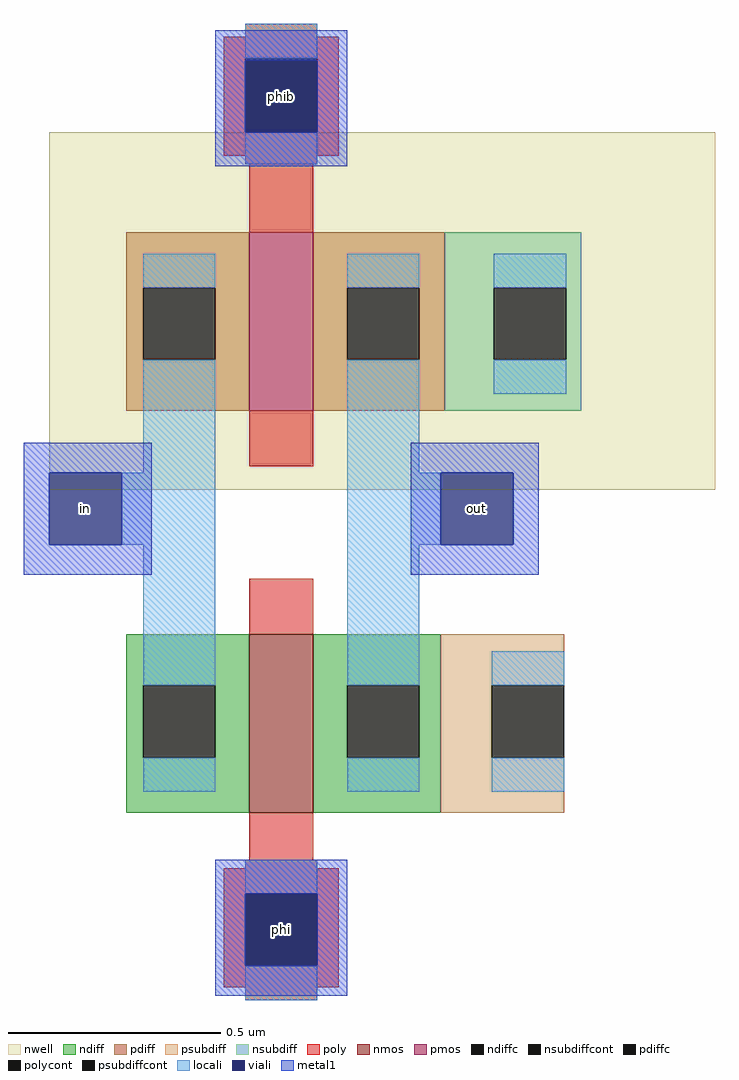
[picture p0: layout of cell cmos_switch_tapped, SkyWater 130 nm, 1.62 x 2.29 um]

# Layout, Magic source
magic
tech sky130A
magscale 1 2
<< nwell >>
rect -94 162 219 330
<< nmos >>
rect 0 10 30 94
<< pmos >>
rect 0 199 30 283
<< ndiff >>
rect -58 70 0 94
rect -58 36 -50 70
rect -16 36 0 70
rect -58 10 0 36
rect 30 70 90 94
rect 30 36 46 70
rect 80 36 90 70
rect 30 10 90 36
<< pdiff >>
rect -58 257 0 283
rect -58 223 -50 257
rect -16 223 0 257
rect -58 199 0 223
rect 30 257 92 283
rect 30 223 46 257
rect 80 223 92 257
rect 30 199 92 223
<< ndiffc >>
rect -50 36 -16 70
rect 46 36 80 70
<< pdiffc >>
rect -50 223 -16 257
rect 46 223 80 257
<< psubdiff >>
rect 90 70 148 94
rect 90 36 114 70
rect 90 10 148 36
<< nsubdiff >>
rect 92 257 156 283
rect 92 223 115 257
rect 149 223 156 257
rect 92 199 156 223
<< psubdiffcont >>
rect 114 36 148 70
<< nsubdiffcont >>
rect 115 223 149 257
<< poly >>
rect -2 375 32 381
rect -12 365 42 375
rect -12 331 -2 365
rect 32 331 42 365
rect -12 319 42 331
rect -2 315 32 319
rect 0 283 30 315
rect 0 173 30 199
rect 0 94 30 120
rect 0 -12 30 10
rect -2 -16 32 -12
rect -12 -28 42 -16
rect -12 -62 -2 -28
rect 32 -62 42 -28
rect -12 -72 42 -62
rect -2 -78 32 -72
<< polycont >>
rect -2 331 32 365
rect -2 -62 32 -28
<< locali >>
rect -2 365 32 381
rect -2 315 32 330
rect -50 257 -16 273
rect -50 170 -16 223
rect -60 136 -16 170
rect -50 70 -16 136
rect -50 20 -16 36
rect 46 257 80 273
rect 46 170 80 223
rect 115 257 149 273
rect 115 207 149 223
rect 46 136 90 170
rect 46 70 80 136
rect 46 20 80 36
rect 114 70 148 86
rect 114 20 148 36
rect -2 -28 32 -12
rect -2 -78 32 -62
<< viali >>
rect -2 331 32 364
rect -2 330 32 331
rect -94 136 -60 170
rect 90 136 124 170
rect -2 -62 32 -28
<< metal1 >>
rect -16 364 46 378
rect -16 330 -2 364
rect 32 330 46 364
rect -16 314 46 330
rect -106 170 -46 184
rect -106 136 -94 170
rect -60 136 -46 170
rect -106 122 -46 136
rect 76 170 136 184
rect 76 136 90 170
rect 124 136 136 170
rect 76 122 136 136
rect -16 -28 46 -12
rect -16 -62 -2 -28
rect 32 -62 46 -28
rect -16 -76 46 -62
<< labels >>
flabel metal1 -2 -62 32 -28 0 FreeSans 80 0 0 0 phi
flabel metal1 -2 330 32 364 0 FreeSans 80 0 0 0 phib
flabel viali -94 136 -60 170 0 FreeSans 80 0 0 0 in
flabel viali 90 136 124 170 0 FreeSans 80 0 0 0 out
<< end >>
